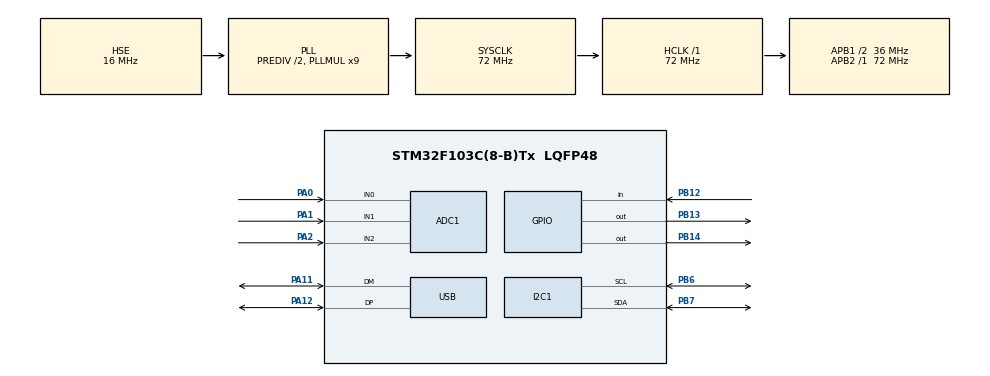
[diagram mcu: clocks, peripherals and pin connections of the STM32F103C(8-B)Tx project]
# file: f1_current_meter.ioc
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ADC1.Channel-0\#ChannelRegularConversion=ADC_CHANNEL_0
ADC1.Channel-1\#ChannelRegularConversion=ADC_CHANNEL_1
ADC1.Channel-2\#ChannelRegularConversion=ADC_CHANNEL_2
ADC1.NbrOfConversion=3
ADC1.NbrOfConversionFlag=1
ADC1.Rank-0\#ChannelRegularConversion=1
ADC1.Rank-1\#ChannelRegularConversion=2
ADC1.Rank-2\#ChannelRegularConversion=3
ADC1.SamplingTime-0\#ChannelRegularConversion=ADC_SAMPLETIME_71CYCLES_5
ADC1.SamplingTime-1\#ChannelRegularConversion=ADC_SAMPLETIME_71CYCLES_5
ADC1.SamplingTime-2\#ChannelRegularConversion=ADC_SAMPLETIME_71CYCLES_5
ADC1.master=1
Dma.ADC1.0.Direction=DMA_PERIPH_TO_MEMORY
Dma.ADC1.0.Instance=DMA1_Channel1
Dma.ADC1.0.MemDataAlignment=DMA_MDATAALIGN_HALFWORD
Dma.ADC1.0.MemInc=DMA_MINC_ENABLE
Dma.ADC1.0.Mode=DMA_NORMAL
Dma.ADC1.0.PeriphDataAlignment=DMA_PDATAALIGN_HALFWORD
Dma.ADC1.0.PeriphInc=DMA_PINC_DISABLE
Dma.ADC1.0.Priority=DMA_PRIORITY_LOW
Dma.Request0=ADC1
Mcu.Family=STM32F1
Mcu.Name=STM32F103C(8-B)Tx
Mcu.Package=LQFP48
NVIC.DMA1_Channel1_IRQn=true\:0\:0\:false\:false\:true\:false\:true\:true
NVIC.PriorityGroup=NVIC_PRIORITYGROUP_4
NVIC.TIM4_IRQn=true\:0\:0\:false\:false\:true\:true\:true\:true
NVIC.USB_LP_CAN1_RX0_IRQn=true\:0\:0\:false\:false\:true\:false\:true\:true
PA0-WKUP.Signal=ADCx_IN0
PA1.Signal=ADCx_IN1
PA11.Mode=Device
PA11.Signal=USB_DM
PA12.Mode=Device
PA12.Signal=USB_DP
PA13.Mode=Serial_Wire
PA13.Signal=SYS_JTMS-SWDIO
PA14.Mode=Serial_Wire
PA14.Signal=SYS_JTCK-SWCLK
PA2.Signal=ADCx_IN2
PB12.GPIO_PuPd=GPIO_PULLUP
PB12.Signal=GPIO_Input
PB13.Signal=GPIO_Output
PB14.Signal=GPIO_Output
PB6.Mode=I2C
PB6.Signal=I2C1_SCL
PB7.Mode=I2C
PB7.Signal=I2C1_SDA
PD0-OSC_IN.Mode=HSE-External-Oscillator
PD0-OSC_IN.Signal=RCC_OSC_IN
PD1-OSC_OUT.Mode=HSE-External-Oscillator
PD1-OSC_OUT.Signal=RCC_OSC_OUT
ProjectManager.HeapSize=0x1
ProjectManager.StackSize=0x1
ProjectManager.TargetToolchain=STM32CubeIDE
RCC.ADCPresc=RCC_ADCPCLK2_DIV6
RCC.AHBFreq_Value=72000000
RCC.APB1CLKDivider=RCC_HCLK_DIV2
RCC.APB1Freq_Value=36000000
RCC.APB1TimFreq_Value=72000000
RCC.APB2Freq_Value=72000000
RCC.APB2TimFreq_Value=72000000
RCC.HCLKFreq_Value=72000000
RCC.HSEDivPLL=RCC_HSE_PREDIV_DIV2
RCC.HSE_VALUE=16000000
RCC.PLLMUL=RCC_PLL_MUL9
RCC.PLLSourceVirtual=RCC_PLLSOURCE_HSE
RCC.SYSCLKFreq_VALUE=72000000
RCC.SYSCLKSource=RCC_SYSCLKSOURCE_PLLCLK
RCC.USBFreq_Value=48000000
RCC.USBPrescaler=RCC_USBCLKSOURCE_PLL_DIV1_5
SH.ADCx_IN0.0=ADC1_IN0,IN0
SH.ADCx_IN1.0=ADC1_IN1,IN1
SH.ADCx_IN2.0=ADC1_IN2,IN2
TIM4.Period=99
TIM4.Prescaler=719
USB_DEVICE.CLASS_NAME_FS=CDC
USB_DEVICE.VirtualMode=Cdc
USB_DEVICE.VirtualModeFS=Cdc_FS
VP_TIM4_VS_ClockSourceINT.Mode=Internal
VP_USB_DEVICE_VS_USB_DEVICE_CDC_FS.Mode=CDC_FS
board=custom

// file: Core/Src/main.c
/* USER CODE BEGIN Header */
/**
  ******************************************************************************
  * @file           : main.c
  * @brief          : Main program body
  ******************************************************************************
  * @attention
  *
  * Copyright (c) 2022 STMicroelectronics.
  * All rights reserved.
  *
  * This software is licensed under terms that can be found in the LICENSE file
  * in the root directory of this software component.
  * If no LICENSE file comes with this software, it is provided AS-IS.
  *
  ******************************************************************************
  */
/* USER CODE END Header */
#include "main.h"
#include "usb_device.h"

/* USER CODE BEGIN Includes */

#include "usbd_cdc_if.h"

#include "eeprom.h"
#include "led.h"

#define K_ADC_TO_UA 805.860806 // k = 1000000000 / 4095 * 3.3
#define OA_MAX_ADC_VALUE 2000
#define OA0_GAIN 1
#define OA1_GAIN 40
#define OA2_GAIN 391

#define BUFFER_SIZE 16

#define BUTTON_DELAY     200 // ms
#define BUTTON_DELAY_LP 1000 // ms

/* USER CODE END Includes */

ADC_HandleTypeDef hadc1;
DMA_HandleTypeDef hdma_adc1;

I2C_HandleTypeDef hi2c1;

TIM_HandleTypeDef htim4;

/* USER CODE BEGIN PV */

struct led ledp;
struct led ledm;
struct eeprom eeprom;
settings_t settings;

volatile uint8_t save_settings = 0;

// ADC
uint16_t adc_data[3];

// Data buffer
uint32_t buf[BUFFER_SIZE];
uint32_t measurement = 0;
size_t bufset = 0;
size_t bufget = 0;

/* USER CODE END PV */

void SystemClock_Config(void);
static void MX_GPIO_Init(void);
static void MX_DMA_Init(void);
static void MX_I2C1_Init(void);
static void MX_ADC1_Init(void);
static void MX_TIM4_Init(void);

/* USER CODE BEGIN 0 */

/*
 * @param value:
 *     = 0 - not pressed
 *     > 0 - pressed
 * @retval:
 *     = 0 - idle
 *     = 1 - short press
 *     = 2 - long press
 */
static int button(int value)
{
	static int counter_press = 0;
	static int counter = 0;
	static int prev = 0;

	if (counter_press)
		counter_press--;

	if (counter)
	{
		counter--;
		return 0;
	}

	// low -> high
	if (!prev && value)
	{
		prev = 1;
		counter = BUTTON_DELAY;
		counter_press = BUTTON_DELAY_LP;
	}
	// high -> low
	else if (prev && !value)
	{
		prev = 0;
		counter = BUTTON_DELAY;

		// Short press
		if (counter_press)
			return 1;
		// Long press
		else
			return 2;
	}

	return 0;
}

inline static int period_to_num(int period)
{
	if (period == 1)
		return 1;
	else if (period == 10)
		return 2;
	else if (period == 100)
		return 3;
	return 0;
}

void HAL_TIM_PeriodElapsedCallback(TIM_HandleTypeDef *htim)
{
	static int counter = 0;
	int ret;

	// LEDs
	counter++;
	if (counter == 125)
	{
		counter = 0;
		led_irq(&ledp);
		led_irq(&ledm);
	}

	// Button
	ret = button(~HAL_GPIO_ReadPin(GPIOB, GPIO_PIN_12) & 0x01);
	if (ret == 1)
	{
		settings.period *= 10;
		if (settings.period > 100)
			settings.period = 1;

		save_settings = 1;

		led(&ledp, period_to_num(settings.period));
	}

	// ADC
	HAL_ADC_Start_DMA(&hadc1, (uint32_t *) adc_data, 3);
}

void HAL_ADC_ConvCpltCallback(ADC_HandleTypeDef* hadc)
{
	static uint16_t counter = 0;
	uint32_t value;

	// OA2
	if (adc_data[0] < OA_MAX_ADC_VALUE)
	{
		value = (uint32_t) adc_data[0] * K_ADC_TO_UA / OA2_GAIN;
		value = value * settings.oa2 / 1000;
	}
	// OA1
	else if (adc_data[2] < OA_MAX_ADC_VALUE)
	{
		value = (uint32_t) adc_data[2] * K_ADC_TO_UA / OA1_GAIN;
		value = value * settings.oa1 / 1000;
	}
	// OA0
	else
	{
		value = (uint32_t) adc_data[1] * K_ADC_TO_UA / OA0_GAIN;
		value = value * settings.oa0 / 1000;
	}

	measurement += value;
	counter++;
	if (counter >= settings.period)
	{
		// TODO: Buffer can be overwritten
		buf[bufset] = measurement / counter;
		bufset = (bufset + 1) % BUFFER_SIZE;

		measurement = 0;
		counter = 0;
	}
}

extern USBD_HandleTypeDef hUsbDeviceFS;
static int is_usb_ready(void)
{
	USBD_CDC_HandleTypeDef *hcdc =
			(USBD_CDC_HandleTypeDef *) hUsbDeviceFS.pClassData;

	if (hcdc->TxState != 0)
		return 0;

	return 1;
}

/* USER CODE END 0 */

int main(void)
{

  /* USER CODE BEGIN 1 */

  char strbuf[BUFFER_SIZE * 8];
  size_t maxvals;
  size_t strlen;
  int ret;

  /* USER CODE END 1 */

  /* MCU Configuration--------------------------------------------------------*/

  /* Reset of all peripherals, Initializes the Flash interface and the Systick. */
  HAL_Init();

  /* Configure the system clock */
  SystemClock_Config();

  /* Initialize all configured peripherals */
  MX_GPIO_Init();
  MX_DMA_Init();
  MX_I2C1_Init();
  MX_USB_DEVICE_Init();
  MX_ADC1_Init();
  MX_TIM4_Init();

  /* Infinite loop */
  /* USER CODE BEGIN WHILE */

  ret = eeprom_init(&eeprom, &hi2c1, 0xA0, 0x00);
  if (ret)
	  for (;;); // TODO: Notify user

  ret = eeprom_get(&eeprom, &settings);
  if (ret)
	  for (;;); // TODO: Notify user

  ret = led_init(&ledp, GPIOB, GPIO_PIN_13);
  if (ret)
	  for (;;); // TODO: Notify user

  ret = led_init(&ledm, GPIOB, GPIO_PIN_14);
  if (ret)
	  for (;;); // TODO: Notify user

  led(&ledp, period_to_num(settings.period));
  led(&ledm, 0);

  //
  HAL_ADCEx_Calibration_Start(&hadc1);
  HAL_TIM_Base_Start_IT(&htim4);

  while (1)
  {
    /* USER CODE END WHILE */

    /* USER CODE BEGIN 3 */

	    // Saving settings to storage
	    if (save_settings)
	    {
	    	save_settings = 0;

	    	// Ignore errors
	    	ret = eeprom_set(&eeprom, &settings);
	    }

		// Data transfer
	    if (is_usb_ready() && bufget != bufset)
	    {
	    	maxvals = BUFFER_SIZE;
	    	strlen = 0;

			while (bufget != bufset && maxvals)
			{
				strlen += snprintf(&strbuf[strlen], sizeof(strbuf) - strlen,
						"%lu\r\n", buf[bufget]);
				bufget = (bufget + 1) % BUFFER_SIZE;
				maxvals--;
			}

			// Ignore errors
			ret = CDC_Transmit_FS((uint8_t *) strbuf, strlen);
		}
  }
  /* USER CODE END 3 */
}

void SystemClock_Config(void)
{
  RCC_OscInitTypeDef RCC_OscInitStruct = {0};
  RCC_ClkInitTypeDef RCC_ClkInitStruct = {0};
  RCC_PeriphCLKInitTypeDef PeriphClkInit = {0};

  /** Initializes the RCC Oscillators according to the specified parameters
  * in the RCC_OscInitTypeDef structure.
  */
  RCC_OscInitStruct.OscillatorType = RCC_OSCILLATORTYPE_HSE;
  RCC_OscInitStruct.HSEState = RCC_HSE_ON;
  RCC_OscInitStruct.HSEPredivValue = RCC_HSE_PREDIV_DIV2;
  RCC_OscInitStruct.HSIState = RCC_HSI_ON;
  RCC_OscInitStruct.PLL.PLLState = RCC_PLL_ON;
  RCC_OscInitStruct.PLL.PLLSource = RCC_PLLSOURCE_HSE;
  RCC_OscInitStruct.PLL.PLLMUL = RCC_PLL_MUL9;
  if (HAL_RCC_OscConfig(&RCC_OscInitStruct) != HAL_OK)
  {
    Error_Handler();
  }

  /** Initializes the CPU, AHB and APB buses clocks
  */
  RCC_ClkInitStruct.ClockType = RCC_CLOCKTYPE_HCLK|RCC_CLOCKTYPE_SYSCLK
                              |RCC_CLOCKTYPE_PCLK1|RCC_CLOCKTYPE_PCLK2;
  RCC_ClkInitStruct.SYSCLKSource = RCC_SYSCLKSOURCE_PLLCLK;
  RCC_ClkInitStruct.AHBCLKDivider = RCC_SYSCLK_DIV1;
  RCC_ClkInitStruct.APB1CLKDivider = RCC_HCLK_DIV2;
  RCC_ClkInitStruct.APB2CLKDivider = RCC_HCLK_DIV1;

  if (HAL_RCC_ClockConfig(&RCC_ClkInitStruct, FLASH_LATENCY_2) != HAL_OK)
  {
    Error_Handler();
  }
  PeriphClkInit.PeriphClockSelection = RCC_PERIPHCLK_ADC|RCC_PERIPHCLK_USB;
  PeriphClkInit.AdcClockSelection = RCC_ADCPCLK2_DIV6;
  PeriphClkInit.UsbClockSelection = RCC_USBCLKSOURCE_PLL_DIV1_5;
  if (HAL_RCCEx_PeriphCLKConfig(&PeriphClkInit) != HAL_OK)
  {
    Error_Handler();
  }
}

static void MX_ADC1_Init(void)
{

  ADC_ChannelConfTypeDef sConfig = {0};

  /** Common config
  */
  hadc1.Instance = ADC1;
  hadc1.Init.ScanConvMode = ADC_SCAN_ENABLE;
  hadc1.Init.ContinuousConvMode = DISABLE;
  hadc1.Init.DiscontinuousConvMode = DISABLE;
  hadc1.Init.ExternalTrigConv = ADC_SOFTWARE_START;
  hadc1.Init.DataAlign = ADC_DATAALIGN_RIGHT;
  hadc1.Init.NbrOfConversion = 3;
  if (HAL_ADC_Init(&hadc1) != HAL_OK)
  {
    Error_Handler();
  }

  /** Configure Regular Channel
  */
  sConfig.Channel = ADC_CHANNEL_0;
  sConfig.Rank = ADC_REGULAR_RANK_1;
  sConfig.SamplingTime = ADC_SAMPLETIME_71CYCLES_5;
  if (HAL_ADC_ConfigChannel(&hadc1, &sConfig) != HAL_OK)
  {
    Error_Handler();
  }

  /** Configure Regular Channel
  */
  sConfig.Channel = ADC_CHANNEL_1;
  sConfig.Rank = ADC_REGULAR_RANK_2;
  if (HAL_ADC_ConfigChannel(&hadc1, &sConfig) != HAL_OK)
  {
    Error_Handler();
  }

  /** Configure Regular Channel
  */
  sConfig.Channel = ADC_CHANNEL_2;
  sConfig.Rank = ADC_REGULAR_RANK_3;
  if (HAL_ADC_ConfigChannel(&hadc1, &sConfig) != HAL_OK)
  {
    Error_Handler();
  }

}

static void MX_I2C1_Init(void)
{

  hi2c1.Instance = I2C1;
  hi2c1.Init.ClockSpeed = 100000;
  hi2c1.Init.DutyCycle = I2C_DUTYCYCLE_2;
  hi2c1.Init.OwnAddress1 = 0;
  hi2c1.Init.AddressingMode = I2C_ADDRESSINGMODE_7BIT;
  hi2c1.Init.DualAddressMode = I2C_DUALADDRESS_DISABLE;
  hi2c1.Init.OwnAddress2 = 0;
  hi2c1.Init.GeneralCallMode = I2C_GENERALCALL_DISABLE;
  hi2c1.Init.NoStretchMode = I2C_NOSTRETCH_DISABLE;
  if (HAL_I2C_Init(&hi2c1) != HAL_OK)
  {
    Error_Handler();
  }

}

static void MX_TIM4_Init(void)
{

  TIM_ClockConfigTypeDef sClockSourceConfig = {0};
  TIM_MasterConfigTypeDef sMasterConfig = {0};

  htim4.Instance = TIM4;
  htim4.Init.Prescaler = 719;
  htim4.Init.CounterMode = TIM_COUNTERMODE_UP;
  htim4.Init.Period = 99;
  htim4.Init.ClockDivision = TIM_CLOCKDIVISION_DIV1;
  htim4.Init.AutoReloadPreload = TIM_AUTORELOAD_PRELOAD_DISABLE;
  if (HAL_TIM_Base_Init(&htim4) != HAL_OK)
  {
    Error_Handler();
  }
  sClockSourceConfig.ClockSource = TIM_CLOCKSOURCE_INTERNAL;
  if (HAL_TIM_ConfigClockSource(&htim4, &sClockSourceConfig) != HAL_OK)
  {
    Error_Handler();
  }
  sMasterConfig.MasterOutputTrigger = TIM_TRGO_RESET;
  sMasterConfig.MasterSlaveMode = TIM_MASTERSLAVEMODE_DISABLE;
  if (HAL_TIMEx_MasterConfigSynchronization(&htim4, &sMasterConfig) != HAL_OK)
  {
    Error_Handler();
  }

}

static void MX_DMA_Init(void)
{

  /* DMA controller clock enable */
  __HAL_RCC_DMA1_CLK_ENABLE();

  /* DMA interrupt init */
  /* DMA1_Channel1_IRQn interrupt configuration */
  HAL_NVIC_SetPriority(DMA1_Channel1_IRQn, 0, 0);
  HAL_NVIC_EnableIRQ(DMA1_Channel1_IRQn);

}

static void MX_GPIO_Init(void)
{
  GPIO_InitTypeDef GPIO_InitStruct = {0};

  /* GPIO Ports Clock Enable */
  __HAL_RCC_GPIOD_CLK_ENABLE();
  __HAL_RCC_GPIOA_CLK_ENABLE();
  __HAL_RCC_GPIOB_CLK_ENABLE();

  /*Configure GPIO pin Output Level */
  HAL_GPIO_WritePin(GPIOB, GPIO_PIN_13|GPIO_PIN_14, GPIO_PIN_RESET);

  /*Configure GPIO pin : PB12 */
  GPIO_InitStruct.Pin = GPIO_PIN_12;
  GPIO_InitStruct.Mode = GPIO_MODE_INPUT;
  GPIO_InitStruct.Pull = GPIO_PULLUP;
  HAL_GPIO_Init(GPIOB, &GPIO_InitStruct);

  /*Configure GPIO pins : PB13 PB14 */
  GPIO_InitStruct.Pin = GPIO_PIN_13|GPIO_PIN_14;
  GPIO_InitStruct.Mode = GPIO_MODE_OUTPUT_PP;
  GPIO_InitStruct.Pull = GPIO_NOPULL;
  GPIO_InitStruct.Speed = GPIO_SPEED_FREQ_LOW;
  HAL_GPIO_Init(GPIOB, &GPIO_InitStruct);

}

/* USER CODE BEGIN 4 */

void usb_callback(uint8_t *buf, uint32_t len)
{
	static size_t loclen = 0;
	static char locbuf[128];
	unsigned int coeff;
	unsigned int num;
	int ret;

	if ((loclen + len) > (sizeof(locbuf) - 1))
	{
		loclen = 0;
		return;
	}

	memcpy(&locbuf[loclen], buf, len);
	loclen += len;

	if (len && buf[len - 1] == '\r')
	{
		locbuf[loclen] = '\0';
		ret = sscanf(locbuf, "oa%u:%u", &num, &coeff);
		loclen = 0;

		if (ret != 2)
			return;

		// TODO: Unsafe. Edit settings copy or use mutex
		if (num == 0)
			settings.oa0 = coeff;
		else if (num == 1)
			settings.oa1 = coeff;
		else if (num == 2)
			settings.oa2 = coeff;

		save_settings = 1;
	}
}

/* USER CODE END 4 */

void Error_Handler(void)
{
  __disable_irq();
  while (1)
  {
  }
}
